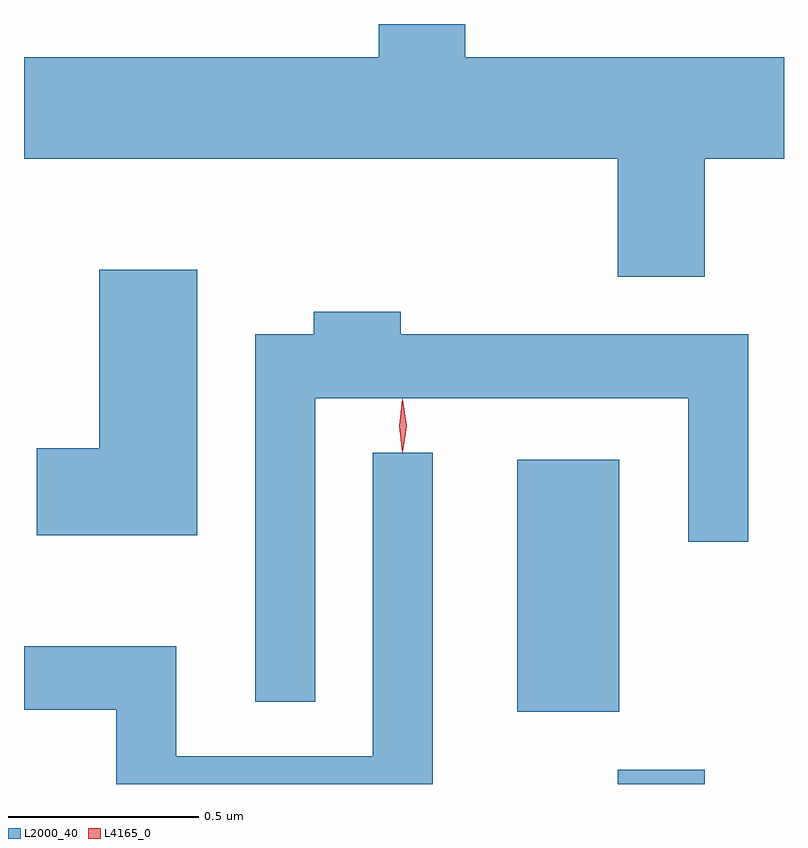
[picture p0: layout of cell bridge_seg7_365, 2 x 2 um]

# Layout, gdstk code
import gdstk
lib = gdstk.Library(unit=1e-6, precision=1e-09)
def R(c, l, rs):  # rectangles x0, y0, x1, y1
    for r in rs: c.add(gdstk.rectangle(r[:2], r[2:], *l))
def P(c, l, *ps):  # polygons
    for p in ps: c.add(gdstk.Polygon(p, *l))
L2000_40 = (2000, 40)
L4165_0 = (4165, 0)

bridge_seg7_365 = lib.new_cell('bridge_seg7_365')
R(bridge_seg7_365, L2000_40, [(1200.831,1768.171,1201.059,1768.209), (1200.566,1768.361,1200.834,1769.024)])
P(bridge_seg7_365, L2000_40, [(1201.059,1769.816),(1201.268,1769.816),(1201.268,1770.084),(1200.429,1770.084),(1200.429,1770.171),(1200.201,1770.171),(1200.201,1770.084),(1199.268,1770.084),(1199.268,1769.816),(1200.831,1769.816),(1200.831,1769.506),(1201.059,1769.506)],
  [(1199.724,1769.524),(1199.466,1769.524),(1199.466,1769.054),(1199.301,1769.054),(1199.301,1768.826),(1199.724,1768.826)],
  [(1200.034,1769.186),(1201.016,1769.186),(1201.016,1768.808),(1201.174,1768.808),(1201.174,1769.354),(1200.259,1769.354),(1200.259,1769.414),(1200.031,1769.414),(1200.031,1769.354),(1199.876,1769.354),(1199.876,1768.388),(1200.034,1768.388)],
  [(1200.344,1769.043),(1200.186,1769.043),(1200.186,1768.244),(1199.669,1768.244),(1199.669,1768.534),(1199.268,1768.534),(1199.268,1768.366),(1199.511,1768.366),(1199.511,1768.171),(1200.344,1768.171)])
P(bridge_seg7_365, L4165_0, [(1200.264,1769.044),(1200.255,1769.113),(1200.264,1769.183),(1200.265,1769.183),(1200.265,1769.183),(1200.275,1769.113),(1200.265,1769.044),(1200.265,1769.044)],
  [(1200.265,1769.047),(1200.264,1769.048),(1200.255,1769.114),(1200.264,1769.18),(1200.265,1769.181),(1200.265,1769.18),(1200.275,1769.114),(1200.265,1769.048)])

lib.write_gds('bridge_seg7_365.gds')
